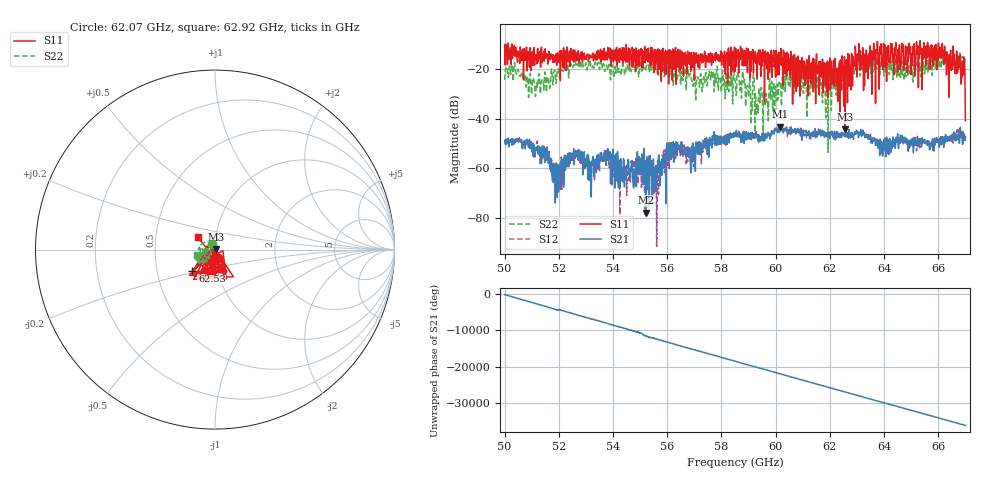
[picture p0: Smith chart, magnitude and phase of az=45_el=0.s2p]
!Created with skrf (http://scikit-rf.org).
# GHz S RI R 50.0
!freq ReS11 ImS11 ReS21 ImS21 ReS12 ImS12 ReS22 ImS22
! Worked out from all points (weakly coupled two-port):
!   1001 points, 50 GHz to 67 GHz, reference 50 ohm
!   highest |S21| = -43.28 dB at 60.17 GHz (marker M1); lowest = -77.7 dB at 55.22 GHz (marker M2)
!   lowest |S11| = -44.3 dB at 62.56 GHz (marker M3), VSWR 1.01, Z = 50.5 + j0.34 ohm
!   |S11| at or under -10 dB: 50.14 GHz to 63.07 GHz (12.94 GHz wide, 22.9 % of centre); 63.07 GHz to 63.62 GHz (543 MHz wide, 0.857 % of centre); 66.15 GHz to end of sweep (the widest 3 of 17)
!   |S22| runs from -53.6 to -13.7 dB; largest |S21 - S12| = 0.0026
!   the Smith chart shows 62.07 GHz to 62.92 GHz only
!   S11 on the Smith chart (normalised r, x): 62.07 GHz: 1.03, -0.09; 62.53 GHz: 0.76, -0.19; 62.92 GHz: 0.82, +0.11
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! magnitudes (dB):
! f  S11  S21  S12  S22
! 50 GHz  -10.3  -48.8  -50.1  -24.6
! 51.58 GHz  -14.5  -54.9  -54.9  -23.3
! 51.94 GHz  -13.8  -68.2  -71.8  -20.5
! 52.41 GHz  -19.1  -57.3  -58.1  -16.6
! 52.84 GHz  -14.6  -53.3  -54.6  -19.3
! 53.23 GHz  -15.6  -57.3  -57.5  -19.5
! 55.22 GHz  -12.4  -77.7  -67.2  -19.6
! 55.68 GHz  -14.0  -55.3  -70.5  -22.7
! 56.24 GHz  -20.2  -57.5  -51.0  -23.8
! 56.95 GHz  -19.6  -49.8  -51.4  -27.1
! 58.5 GHz  -21.2  -46.3  -46.2  -24.7
! 59.32 GHz  -24.2  -47.8  -47.8  -34.3
! 60.17 GHz  -18.2  -43.3  -43.4  -26.1
! 61.34 GHz  -23.9  -46.4  -47.1  -25.3
! 62.07 GHz  -26.2  -45.1  -45.8  -29.4
! 62.53 GHz  -15.2  -46.8  -47.1  -19.1
! 62.56 GHz  -44.3  -45.9  -47.3  -19.8
! 62.92 GHz  -18.5  -45.3  -45.6  -19.7
! 64.18 GHz  -17.5  -54.4  -53.9  -18.6
! 66.08 GHz  -15.6  -48.5  -48.8  -15.5
! 66.9 GHz  -16.9  -50.4  -50.0  -15.2
! 67 GHz  -40.9  -48.6  -47.3  -15.9
